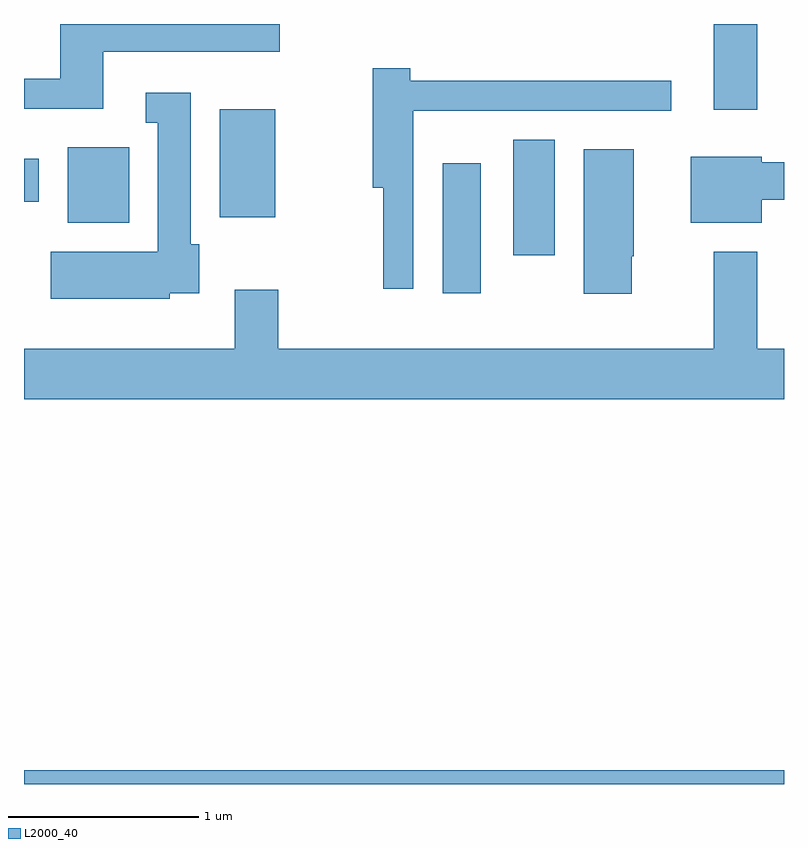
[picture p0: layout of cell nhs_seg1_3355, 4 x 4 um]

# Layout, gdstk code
import gdstk
lib = gdstk.Library(unit=1e-6, precision=1e-09)
def R(c, l, rs):  # rectangles x0, y0, x1, y1
    for r in rs: c.add(gdstk.rectangle(r[:2], r[2:], *l))
def P(c, l, *ps):  # polygons
    for p in ps: c.add(gdstk.Polygon(p, *l))
L2000_40 = (2000, 40)

nhs_seg1_3355 = lib.new_cell('nhs_seg1_3355')
R(nhs_seg1_3355, L2000_40, [(285.611,959.712,289.611,959.784), (287.816,962.296,288.014,962.979), (288.186,962.496,288.404,963.104), (285.841,962.666,286.164,963.064), (286.641,962.696,286.934,963.264), (285.611,962.776,285.689,963.004), (289.241,963.261,289.469,963.712)])
P(nhs_seg1_3355, L2000_40, [(286.029,963.566),(286.958,963.566),(286.958,963.712),(285.801,963.712),(285.801,963.424),(285.611,963.424),(285.611,963.266),(286.029,963.266)],
  [(287.659,963.256),(289.018,963.256),(289.018,963.414),(287.644,963.414),(287.644,963.479),(287.446,963.479),(287.446,962.851),(287.501,962.851),(287.501,962.318),(287.659,962.318)],
  [(286.379,962.296),(286.534,962.296),(286.534,962.554),(286.489,962.554),(286.489,963.349),(286.253,963.349),(286.253,963.191),(286.316,963.191),(286.316,962.514),(285.751,962.514),(285.751,962.266),(286.379,962.266)],
  [(288.809,962.49),(288.819,962.49),(288.819,963.054),(288.556,963.054),(288.556,962.291),(288.809,962.291)],
  [(289.494,962.786),(289.611,962.786),(289.611,962.984),(289.494,962.984),(289.494,963.014),(289.121,963.014),(289.121,962.666),(289.494,962.666)],
  [(289.611,962.004),(289.469,962.004),(289.469,962.514),(289.241,962.514),(289.241,962.004),(286.949,962.004),(286.949,962.314),(286.721,962.314),(286.721,962.004),(285.611,962.004),(285.611,961.736),(289.611,961.736)])

lib.write_gds('nhs_seg1_3355.gds')
